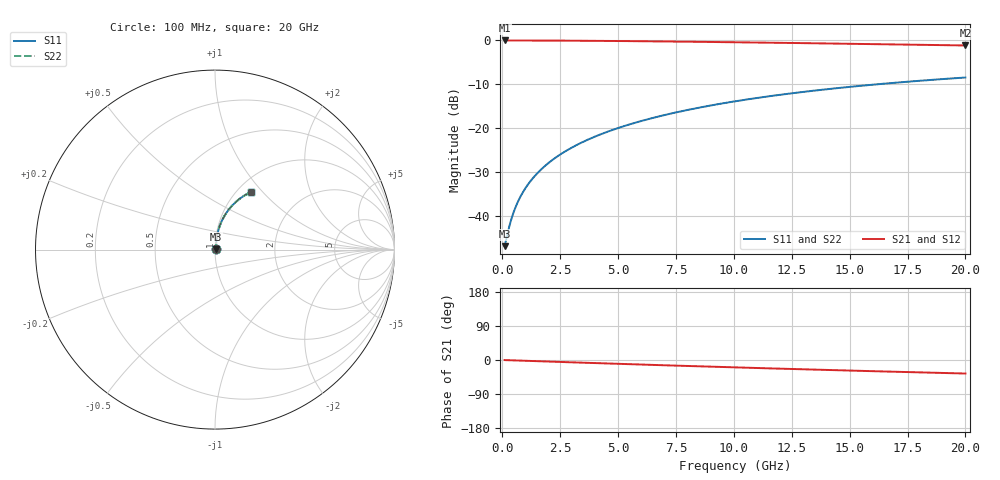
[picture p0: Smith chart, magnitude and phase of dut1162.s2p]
! Touchstone file exported from HFSS 2024.1.0
!  File:  C:/UserFiles/LocalFiles/RDL_TSV_Batchsim/temp_RDL_bottom_1162_1780056493.aedt
!  Generated:  08:10:46 PM May 29, 2026
!  Design:  RDL_bottom
!  Project:  temp_RDL_bottom_1162_1780056493
!  Setup:  Setup1
!  Solution:  Sweep
! Variables:
!  dtsv = 10.80580581um
!  hbump = 3um
!  htsv = 50.86um
!  ldown = 489.34um
!  lrdl = 100um
!  p = 40
!  p1 = 41.66um
!  rhole = 1um
!  t = 450um
!  tdown = 2.91um
!  trdl = 3.915915916um
!  wdown = 15.42um
!  wrdl = 20um
# GHz S MA R 50.000000
! Terminal data exported
! Port[1] = RDL1_T1
! Port[2] = RDL1_T2
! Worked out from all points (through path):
!   200 points, 100 MHz to 20 GHz, reference 50 ohm
!   highest |S21| = -0.04 dB at 100 MHz (marker M1); lowest = -1.2 dB at 20 GHz (marker M2)
!   group delay of S21, straight-line fit = 4.95 ps
!   lowest |S11| = -46.8 dB at 100 MHz (marker M3), VSWR 1.01, Z = 50.4 + j0.215 ohm
!   |S11| at or under -10 dB: start of sweep to 16.21 GHz
!   |S22| runs from -46.8 to -8.5 dB; largest |S21 - S12| = 3.1e-15
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0.1  0.00455 27.9  0.996 -0.2  0.996 -0.2  0.00455 27.9
! Gamma 0 0 0 0
! Port Impedance 50 0 50 0
0.3  0.007591 56.2  0.9958 -0.6  0.9958 -0.6  0.007591 56.2
0.4  0.009411 62.4  0.9956 -0.8  0.9956 -0.8  0.009411 62.4
0.5  0.01128 66.5  0.9955 -1.1  0.9955 -1.1  0.01128 66.5
0.6  0.01317 69.4  0.9953 -1.3  0.9953 -1.3  0.01317 69.4
0.7  0.01507 71.6  0.9952 -1.5  0.9952 -1.5  0.01507 71.6
0.9  0.01889 74.6  0.9948 -1.9  0.9948 -1.9  0.01889 74.6
1.2  0.02466 77.4  0.9944 -2.5  0.9944 -2.5  0.02466 77.4
1.4  0.02855 78.6  0.994 -2.9  0.994 -2.9  0.02855 78.6
1.7  0.03441 79.8  0.9934 -3.5  0.9934 -3.5  0.03441 79.8
2.2  0.04425 80.9  0.9923 -4.5  0.9923 -4.5  0.04425 80.9
2.8  0.05616 81.4  0.9906 -5.7  0.9906 -5.7  0.05616 81.4
3.5  0.07015 81.5  0.9882 -7.1  0.9882 -7.1  0.07015 81.5
4.2  0.08424 81.2  0.9853 -8.5  0.9853 -8.5  0.08424 81.2
5  0.1004 80.5  0.9816 -10.1  0.9816 -10.1  0.1004 80.5
5.9  0.1187 79.6  0.9769 -11.8  0.9769 -11.8  0.1187 79.6
6.8  0.137 78.5  0.9718 -13.6  0.9718 -13.6  0.137 78.5
8.4  0.1694 76.3  0.9617 -16.5  0.9617 -16.5  0.1694 76.3
10.1  0.2032 73.7  0.95 -19.6  0.95 -19.6  0.2033 73.7
13.4  0.2663 68.4  0.9256 -25.3  0.9256 -25.3  0.2663 68.4
16.7  0.3246 63.2  0.8997 -30.6  0.8997 -30.6  0.3247 63.2
20  0.3774 58.1  0.8732 -35.7  0.8732 -35.7  0.3774 58.1
